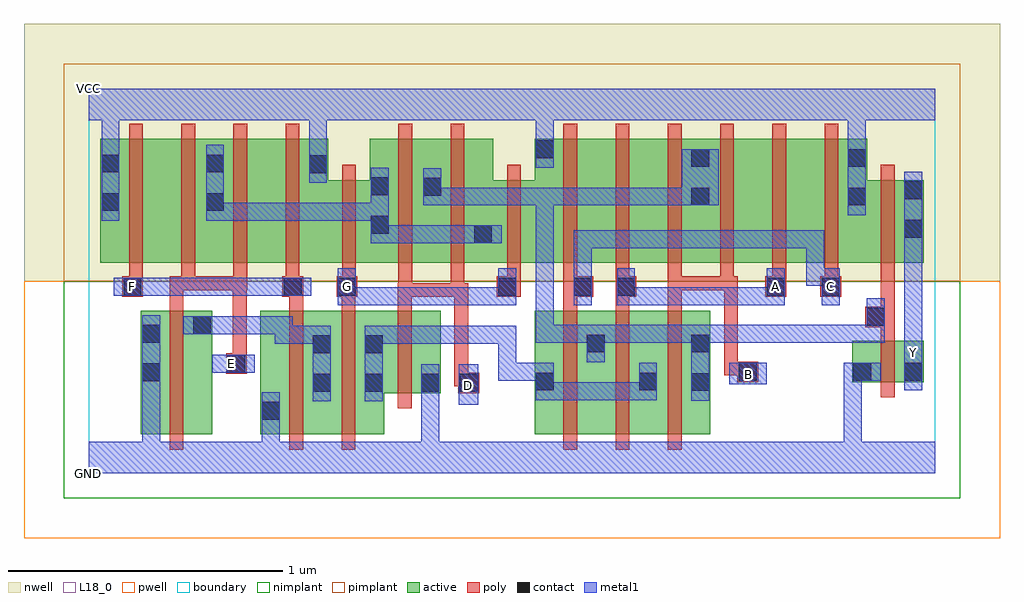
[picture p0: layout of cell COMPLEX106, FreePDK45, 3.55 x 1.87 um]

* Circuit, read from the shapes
.subckt COMPLEX106 A B C D E F G GND VCC Y
M1 n1 E GND VSUBS nfet w=0.45u l=0.05u
M2 n1 F GND VSUBS nfet w=0.45u l=0.05u
M3 n2 G n1 VSUBS nfet w=0.45u l=0.05u
M4 GND D n2 VSUBS nfet w=0.3u l=0.05u
M5 n3 C n2 VSUBS nfet w=0.45u l=0.05u
M6 n2 A n3 VSUBS nfet w=0.45u l=0.05u
M7 n3 B n2 VSUBS nfet w=0.45u l=0.05u
M8 Y n3 GND VSUBS nfet w=0.15u l=0.05u
M9 n4 F VCC n5 pfet w=0.45u l=0.05u
M10 n6 E n4 n5 pfet w=0.45u l=0.05u
M11 n7 E n6 n5 pfet w=0.45u l=0.05u
M12 VCC F n7 n5 pfet w=0.45u l=0.05u
M13 n6 G VCC n5 pfet w=0.3u l=0.05u m=2
M14 n3 D n6 n5 pfet w=0.45u l=0.05u m=2
M15 n8 C VCC n5 pfet w=0.45u l=0.05u
M16 n9 A n8 n5 pfet w=0.45u l=0.05u
M17 n3 B n9 n5 pfet w=0.45u l=0.05u
M18 n10 B n3 n5 pfet w=0.45u l=0.05u
M19 n11 A n10 n5 pfet w=0.45u l=0.05u
M20 VCC C n11 n5 pfet w=0.45u l=0.05u
M21 Y n3 VCC n5 pfet w=0.3u l=0.05u
.ends

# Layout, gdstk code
import gdstk
lib = gdstk.Library(unit=1e-6, precision=1e-09)
def R(c, l, rs):  # rectangles x0, y0, x1, y1
    for r in rs: c.add(gdstk.rectangle(r[:2], r[2:], *l))
def A(c, l, x, y, w, h, nx, ny, dx, dy):  # array of equal rectangles
    R(c, l, [(x+i*dx, y+j*dy, x+i*dx+w, y+j*dy+h) for i in range(nx) for j in range(ny)])
active = (1, 0)
pwell = (2, 0)
nwell = (3, 0)
nimplant = (4, 0)
pimplant = (5, 0)
poly = (9, 0)
contact = (10, 0)
metal1 = (11, 0)
L18_0 = (18, 0)
boundary = (235, 0)

complex106 = lib.new_cell('COMPLEX106')
R(complex106, active, [(0.19,0.142,0.45,0.592), (0.625,0.142,0.885,0.592), (0.625,0.142,0.7,0.592), (0.81,0.142,1.075,0.592), (1.622,0.142,1.882,0.592), (1.807,0.142,2.072,0.592), (1.997,0.142,2.262,0.592), (0.19,0.195,0.265,0.592), (0.375,0.195,0.45,0.592), (0.81,0.195,0.885,0.542), (1.622,0.195,1.697,0.592), (1.807,0.195,1.882,0.542), (1.997,0.195,2.072,0.542), (2.187,0.195,2.262,0.592), (1,0.2,1.075,0.592), (1,0.292,1.28,0.592), (1.205,0.292,1.28,0.592), (2.777,0.332,2.852,0.482), (2.777,0.332,3.037,0.482), (2.962,0.332,3.037,0.482), (0.042,0.767,0.117,1.217), (0.042,0.767,0.267,1.217), (0.267,0.767,0.497,1.217), (0.422,0.767,0.647,1.217), (0.422,0.767,0.497,1.2), (0.647,0.767,0.872,1.217), (0.797,0.767,1.097,1.067), (1.022,0.767,1.287,1.217), (1.212,0.767,1.472,1.217), (1.212,0.767,1.287,1.2), (1.397,0.767,1.697,1.067), (1.622,0.767,1.847,1.217), (1.847,0.767,2.037,1.217), (2.037,0.767,2.262,1.217), (2.187,0.767,2.417,1.217), (2.187,0.767,2.262,1.2), (2.417,0.767,2.607,1.217), (2.607,0.767,2.832,1.217), (2.757,0.767,3.037,1.067), (2.962,0.767,3.037,1.067), (1.022,0.832,1.097,1.2), (1.397,0.832,1.472,1.07), (1.622,0.907,1.697,1.217), (2.757,0.97,2.832,1.185), (0.797,1.007,0.872,1.162)])
R(complex106, pwell, [(-0.235,-0.235,3.315,0.7)])
R(complex106, nwell, [(-0.235,0.7,3.315,1.635)])
R(complex106, nimplant, [(-0.09,-0.09,3.17,0.7)])
R(complex106, pimplant, [(-0.09,0.7,3.17,1.49)])
A(complex106, poly, 1.727, 0.087, 0.05, 0.56, 3, 1, 0.19, 0)
A(complex106, poly, 0.147, 0.667, 0.05, 0.095, 4, 1, 0.19, 0)
A(complex106, poly, 1.727, 0.667, 0.05, 0.095, 6, 1, 0.19, 0)
A(complex106, poly, 0.147, 0.712, 0.05, 0.56, 4, 1, 0.19, 0)
A(complex106, poly, 1.727, 0.712, 0.05, 0.56, 6, 1, 0.19, 0)
R(complex106, poly, [(0.295,0.087,0.345,0.647), (0.73,0.087,0.78,0.647), (0.92,0.087,0.97,0.647), (1.125,0.237,1.175,0.647), (2.882,0.277,2.932,0.537), (1.345,0.292,1.42,0.367), (1.33,0.317,1.395,0.367), (1.33,0.317,1.38,0.692), (1.345,0.317,1.395,0.367), (2.36,0.332,2.435,0.407), (2.312,0.357,2.362,0.717), (2.312,0.357,2.41,0.407), (2.36,0.357,2.41,0.407), (0.5,0.362,0.575,0.437), (0.525,0.387,0.575,0.717), (2.882,0.487,2.932,0.582), (2.825,0.532,2.932,0.607), (2.882,0.557,2.932,0.762), (0.295,0.597,0.345,0.717), (0.73,0.597,0.78,0.692), (0.92,0.597,0.97,0.692), (1.125,0.597,1.175,0.692), (1.727,0.597,1.777,0.692), (1.917,0.597,1.967,0.692), (2.107,0.597,2.157,0.717), (0.122,0.642,0.197,0.717), (0.705,0.642,0.78,0.717), (0.902,0.642,0.977,0.717), (1.125,0.642,1.177,0.692), (1.127,0.642,1.367,0.692), (1.127,0.642,1.177,0.762), (1.317,0.642,1.367,0.692), (1.317,0.642,1.367,0.692), (1.317,0.642,1.367,0.762), (1.317,0.642,1.38,0.692), (1.485,0.642,1.572,0.717), (1.727,0.642,1.835,0.717), (1.917,0.642,1.992,0.717), (2.462,0.642,2.537,0.717), (2.662,0.642,2.737,0.717), (0.295,0.667,0.387,0.717), (0.337,0.667,0.575,0.717), (0.525,0.667,0.575,0.717), (0.525,0.667,0.575,0.717), (0.525,0.667,0.575,0.717), (0.525,0.667,0.575,0.717), (0.525,0.667,0.577,0.717), (0.922,0.667,0.972,0.762), (1.522,0.667,1.572,0.762), (2.107,0.667,2.347,0.717), (2.107,0.667,2.157,0.717), (2.107,0.667,2.157,0.717), (2.107,0.667,2.157,0.717), (2.297,0.667,2.362,0.717), (0.922,0.712,0.972,1.122), (1.127,0.712,1.177,1.272), (1.317,0.712,1.367,1.272), (1.522,0.712,1.572,1.122), (2.882,0.712,2.932,1.122)])
R(complex106, contact, [(0.63,0.195,0.695,0.26), (0.815,0.297,0.88,0.362), (1.005,0.297,1.07,0.362), (1.21,0.297,1.275,0.362), (1.35,0.297,1.415,0.362), (2.192,0.3,2.257,0.365), (1.627,0.302,1.692,0.367), (2.002,0.302,2.067,0.367), (0.195,0.335,0.26,0.4), (2.365,0.337,2.43,0.402), (2.782,0.337,2.847,0.402), (2.967,0.337,3.032,0.402), (0.505,0.367,0.57,0.432), (0.815,0.437,0.88,0.502), (1.005,0.437,1.07,0.502), (1.812,0.44,1.877,0.505), (2.192,0.44,2.257,0.505), (0.195,0.475,0.26,0.54), (0.38,0.507,0.445,0.572), (2.83,0.537,2.895,0.602), (0.127,0.647,0.192,0.712), (0.71,0.647,0.775,0.712), (0.907,0.647,0.972,0.712), (1.49,0.647,1.555,0.712), (1.765,0.647,1.83,0.712), (1.922,0.647,1.987,0.712), (2.467,0.647,2.532,0.712), (2.667,0.647,2.732,0.712), (1.402,0.837,1.467,0.902), (2.967,0.857,3.032,0.922), (1.027,0.872,1.092,0.937), (0.047,0.955,0.112,1.02), (0.427,0.955,0.492,1.02), (2.192,0.975,2.257,1.04), (2.762,0.975,2.827,1.04), (2.967,0.997,3.032,1.062), (1.217,1.01,1.282,1.075), (1.027,1.012,1.092,1.077), (0.802,1.092,0.867,1.157), (0.047,1.095,0.112,1.16), (0.427,1.095,0.492,1.16), (2.192,1.115,2.257,1.18), (2.762,1.115,2.827,1.18), (1.627,1.147,1.692,1.212)])
R(complex106, metal1, [(0,0,3.08,0.115), (0.195,0.05,0.26,0.115), (0.195,0.05,0.26,0.115), (0.195,0.05,0.26,0.365), (0.63,0.05,0.695,0.115), (0.63,0.05,0.695,0.115), (0.63,0.05,0.695,0.225), (1.21,0.05,1.275,0.327), (2.747,0.05,2.812,0.115), (2.747,0.05,2.812,0.115), (2.747,0.05,2.812,0.115), (2.747,0.05,2.812,0.115), (2.747,0.05,2.812,0.402), (0.63,0.16,0.695,0.295), (1.347,0.25,1.417,0.397), (0.815,0.262,0.88,0.537), (1.005,0.262,1.07,0.537), (1.21,0.262,1.275,0.327), (1.21,0.262,1.275,0.327), (1.21,0.262,1.275,0.327), (1.21,0.262,1.275,0.327), (1.21,0.262,1.275,0.397), (2.192,0.265,2.257,0.54), (1.627,0.267,1.692,0.402), (1.627,0.267,1.83,0.332), (1.765,0.267,1.83,0.332), (1.765,0.267,1.83,0.332), (1.765,0.267,1.83,0.332), (1.765,0.267,2.002,0.332), (1.937,0.267,2.002,0.332), (1.937,0.267,2.067,0.332), (2.002,0.267,2.067,0.402), (0.195,0.3,0.26,0.575), (2.967,0.302,3.032,0.437), (2.33,0.325,2.467,0.402), (1.49,0.337,1.555,0.402), (1.49,0.337,1.555,0.402), (1.49,0.337,1.555,0.402), (1.49,0.337,1.555,0.537), (1.49,0.337,1.692,0.402), (2.747,0.337,2.812,0.402), (2.747,0.337,2.812,0.402), (2.747,0.337,2.882,0.402), (0.45,0.367,0.605,0.432), (2.967,0.372,3.032,0.437), (2.967,0.372,3.032,0.507), (1.812,0.405,1.877,0.54), (2.967,0.442,3.032,0.887), (0.677,0.472,0.88,0.537), (0.677,0.472,0.742,0.572), (1.005,0.472,1.145,0.537), (1.08,0.472,1.145,0.537), (1.08,0.472,1.282,0.537), (1.217,0.472,1.282,0.537), (1.217,0.472,1.282,0.537), (1.217,0.472,1.282,0.537), (1.217,0.472,1.555,0.537), (1.49,0.472,1.555,0.537), (1.627,0.475,1.692,0.54), (1.627,0.475,1.692,0.54), (1.627,0.475,1.692,0.54), (1.627,0.475,1.85,0.54), (1.627,0.475,1.692,1.04), (1.785,0.475,1.85,0.54), (1.785,0.475,1.877,0.54), (1.812,0.475,2.002,0.54), (1.937,0.475,2.002,0.54), (1.937,0.475,2.02,0.54), (1.955,0.475,2.02,0.54), (1.955,0.475,2.257,0.54), (2.192,0.475,2.257,0.54), (2.192,0.475,2.257,0.54), (2.192,0.475,2.395,0.54), (2.33,0.475,2.395,0.54), (2.33,0.475,2.537,0.54), (2.472,0.475,2.537,0.54), (2.472,0.475,2.537,0.54), (2.472,0.475,2.537,0.54), (2.472,0.475,2.675,0.54), (2.61,0.475,2.675,0.54), (2.61,0.475,2.675,0.54), (2.61,0.475,2.675,0.54), (2.61,0.475,2.895,0.54), (2.83,0.475,2.895,0.54), (2.83,0.475,2.895,0.567), (2.83,0.502,2.895,0.567), (2.83,0.502,2.895,0.567), (2.83,0.502,2.895,0.637), (0.345,0.507,0.48,0.572), (0.415,0.507,0.502,0.572), (0.437,0.507,0.502,0.572), (0.437,0.507,0.73,0.572), (0.665,0.507,0.73,0.572), (0.665,0.507,0.742,0.572), (0.907,0.612,0.972,0.747), (0.907,0.612,1.11,0.677), (1.045,0.612,1.11,0.677), (1.045,0.612,1.11,0.677), (1.045,0.612,1.11,0.677), (1.045,0.612,1.282,0.677), (1.217,0.612,1.282,0.677), (1.217,0.612,1.282,0.677), (1.217,0.612,1.282,0.677), (1.217,0.612,1.555,0.677), (1.49,0.612,1.555,0.677), (1.49,0.612,1.555,0.677), (1.49,0.612,1.555,0.747), (1.765,0.612,1.83,0.747), (1.922,0.612,1.987,0.747), (1.922,0.612,2.02,0.677), (1.955,0.612,2.02,0.677), (1.955,0.612,2.257,0.677), (2.192,0.612,2.257,0.677), (2.192,0.612,2.257,0.677), (2.192,0.612,2.257,0.677), (2.192,0.612,2.395,0.677), (2.33,0.612,2.395,0.677), (2.33,0.612,2.532,0.677), (2.467,0.612,2.532,0.677), (2.467,0.612,2.532,0.677), (2.467,0.612,2.532,0.747), (2.667,0.612,2.732,0.747), (0.092,0.647,0.227,0.712), (0.162,0.647,0.227,0.712), (0.162,0.647,0.227,0.712), (0.162,0.647,0.365,0.712), (0.3,0.647,0.365,0.712), (0.3,0.647,0.365,0.712), (0.3,0.647,0.365,0.712), (0.3,0.647,0.502,0.712), (0.437,0.647,0.502,0.712), (0.437,0.647,0.695,0.712), (0.63,0.647,0.695,0.712), (0.63,0.647,0.74,0.712), (0.675,0.647,0.81,0.712), (1.765,0.682,1.83,0.747), (1.765,0.682,1.83,0.747), (1.765,0.682,1.83,0.885), (2.61,0.682,2.675,0.747), (2.61,0.682,2.732,0.747), (2.61,0.682,2.675,0.885), (1.765,0.82,1.83,0.885), (1.765,0.82,2.002,0.885), (1.937,0.82,2.002,0.885), (1.937,0.82,2.02,0.885), (1.955,0.82,2.02,0.885), (1.955,0.82,2.14,0.885), (2.075,0.82,2.14,0.885), (2.075,0.82,2.257,0.885), (2.192,0.82,2.257,0.885), (2.192,0.82,2.395,0.885), (2.33,0.82,2.395,0.885), (2.33,0.82,2.532,0.885), (2.467,0.82,2.532,0.885), (2.467,0.82,2.532,0.885), (2.467,0.82,2.532,0.885), (2.467,0.82,2.675,0.885), (2.61,0.82,2.675,0.885), (2.967,0.822,3.032,1.097), (1.027,0.837,1.092,1.112), (1.027,0.837,1.145,0.902), (1.08,0.837,1.145,0.902), (1.08,0.837,1.282,0.902), (1.217,0.837,1.282,0.902), (1.217,0.837,1.282,0.902), (1.217,0.837,1.282,0.902), (1.217,0.837,1.432,0.902), (1.367,0.837,1.502,0.902), (0.047,0.92,0.112,1.195), (0.427,0.92,0.492,1.195), (0.427,0.92,0.592,0.985), (0.527,0.92,0.592,0.985), (0.527,0.92,0.73,0.985), (0.665,0.92,0.73,0.985), (0.665,0.92,0.73,0.985), (0.665,0.92,0.73,0.985), (0.665,0.92,0.932,0.985), (0.867,0.92,0.932,0.985), (0.867,0.92,0.932,0.985), (0.867,0.92,0.932,0.985), (0.867,0.92,1.092,0.985), (2.762,0.94,2.827,1.215), (1.217,0.975,1.282,1.04), (1.217,0.975,1.282,1.04), (1.217,0.975,1.282,1.11), (1.217,0.975,1.555,1.04), (1.49,0.975,1.555,1.04), (1.49,0.975,1.602,1.04), (1.537,0.975,1.602,1.04), (1.537,0.975,1.692,1.04), (1.627,0.975,1.692,1.04), (1.627,0.975,1.692,1.04), (1.627,0.975,1.692,1.04), (1.627,0.975,1.83,1.04), (1.765,0.975,1.83,1.04), (1.765,0.975,1.83,1.04), (1.765,0.975,1.83,1.04), (1.765,0.975,2.002,1.04), (1.937,0.975,2.002,1.04), (1.937,0.975,2.02,1.04), (1.955,0.975,2.02,1.04), (1.955,0.975,2.14,1.04), (2.075,0.975,2.14,1.04), (2.075,0.975,2.222,1.04), (2.157,0.975,2.292,1.18), (0.802,1.057,0.867,1.192), (1.627,1.112,1.692,1.247), (0.802,1.127,0.867,1.35), (0.047,1.13,0.112,1.35), (2.762,1.15,2.827,1.35), (1.627,1.182,1.692,1.35), (0,1.285,3.08,1.4)])
R(complex106, L18_0, [(0,0,3.08,0.115), (0.195,0.05,0.26,0.115), (0.195,0.05,0.26,0.115), (0.195,0.05,0.26,0.365), (0.63,0.05,0.695,0.115), (0.63,0.05,0.695,0.115), (0.63,0.05,0.695,0.225), (1.21,0.05,1.275,0.327), (2.747,0.05,2.812,0.115), (2.747,0.05,2.812,0.115), (2.747,0.05,2.812,0.115), (2.747,0.05,2.812,0.115), (2.747,0.05,2.812,0.402), (0.63,0.16,0.695,0.295), (1.347,0.25,1.417,0.397), (1.21,0.262,1.275,0.327), (1.21,0.262,1.275,0.327), (1.21,0.262,1.275,0.327), (1.21,0.262,1.275,0.327), (1.21,0.262,1.275,0.397), (1.347,0.287,1.412,0.352), (0.195,0.3,0.26,0.575), (2.967,0.302,3.032,0.437), (2.33,0.325,2.467,0.402), (2.367,0.327,2.432,0.392), (2.747,0.337,2.882,0.402), (2.747,0.337,2.812,0.402), (2.747,0.337,2.812,0.402), (0.45,0.367,0.605,0.432), (0.487,0.367,0.552,0.432), (2.967,0.372,3.032,0.437), (2.967,0.372,3.032,0.507), (2.967,0.407,3.032,0.472), (2.967,0.442,3.032,0.887), (0.907,0.612,1.11,0.677), (0.907,0.612,0.972,0.747), (1.045,0.612,1.11,0.677), (1.045,0.612,1.11,0.677), (1.045,0.612,1.11,0.677), (1.045,0.612,1.282,0.677), (1.217,0.612,1.282,0.677), (1.217,0.612,1.282,0.677), (1.217,0.612,1.282,0.677), (1.217,0.612,1.555,0.677), (1.49,0.612,1.555,0.677), (1.49,0.612,1.555,0.677), (1.49,0.612,1.555,0.747), (1.765,0.612,1.83,0.747), (1.922,0.612,1.987,0.747), (1.922,0.612,2.02,0.677), (1.955,0.612,2.02,0.677), (1.955,0.612,2.257,0.677), (2.192,0.612,2.257,0.677), (2.192,0.612,2.257,0.677), (2.192,0.612,2.257,0.677), (2.192,0.612,2.395,0.677), (2.33,0.612,2.395,0.677), (2.33,0.612,2.532,0.677), (2.467,0.612,2.532,0.677), (2.467,0.612,2.532,0.677), (2.467,0.612,2.532,0.747), (2.667,0.612,2.732,0.747), (0.092,0.647,0.227,0.712), (0.127,0.647,0.192,0.712), (0.162,0.647,0.227,0.712), (0.162,0.647,0.227,0.712), (0.162,0.647,0.365,0.712), (0.3,0.647,0.365,0.712), (0.3,0.647,0.365,0.712), (0.3,0.647,0.365,0.712), (0.3,0.647,0.502,0.712), (0.437,0.647,0.502,0.712), (0.437,0.647,0.695,0.712), (0.63,0.647,0.695,0.712), (0.63,0.647,0.74,0.712), (0.675,0.647,0.81,0.712), (0.907,0.647,0.972,0.712), (2.467,0.647,2.532,0.712), (2.667,0.647,2.732,0.712), (1.765,0.682,1.83,0.747), (1.765,0.682,1.83,0.747), (1.765,0.682,1.83,0.885), (2.61,0.682,2.675,0.747), (2.61,0.682,2.675,0.885), (2.61,0.682,2.732,0.747), (1.765,0.82,1.83,0.885), (1.765,0.82,2.002,0.885), (1.937,0.82,2.002,0.885), (1.937,0.82,2.02,0.885), (1.955,0.82,2.02,0.885), (1.955,0.82,2.14,0.885), (2.075,0.82,2.14,0.885), (2.075,0.82,2.257,0.885), (2.192,0.82,2.257,0.885), (2.192,0.82,2.395,0.885), (2.33,0.82,2.395,0.885), (2.33,0.82,2.532,0.885), (2.467,0.82,2.532,0.885), (2.467,0.82,2.532,0.885), (2.467,0.82,2.532,0.885), (2.467,0.82,2.675,0.885), (2.61,0.82,2.675,0.885), (2.967,0.822,3.032,1.097), (0.047,0.92,0.112,1.195), (2.762,0.94,2.827,1.215), (0.802,1.057,0.867,1.192), (1.627,1.112,1.692,1.247), (0.802,1.127,0.867,1.35), (0.047,1.13,0.112,1.35), (2.762,1.15,2.827,1.35), (1.627,1.182,1.692,1.35), (0,1.285,3.08,1.4)])
R(complex106, boundary, [(0,0,3.08,1.4)])
complex106.add(gdstk.Label('A', (2.5,0.68), layer=11, texttype=0))
complex106.add(gdstk.Label('B', (2.4,0.36), layer=11, texttype=0))
complex106.add(gdstk.Label('C', (2.7,0.68), layer=11, texttype=0))
complex106.add(gdstk.Label('D', (1.38,0.32), layer=11, texttype=0))
complex106.add(gdstk.Label('E', (0.52,0.4), layer=11, texttype=0))
complex106.add(gdstk.Label('F', (0.16,0.68), layer=11, texttype=0))
complex106.add(gdstk.Label('G', (0.94,0.68), layer=11, texttype=0))
complex106.add(gdstk.Label('Y', (3,0.44), layer=11, texttype=0))
complex106.add(gdstk.Label('VCC', (0,1.4), layer=11, texttype=0))
complex106.add(gdstk.Label('GND', (0,0), layer=11, texttype=0))

lib.write_gds('COMPLEX106.gds')
